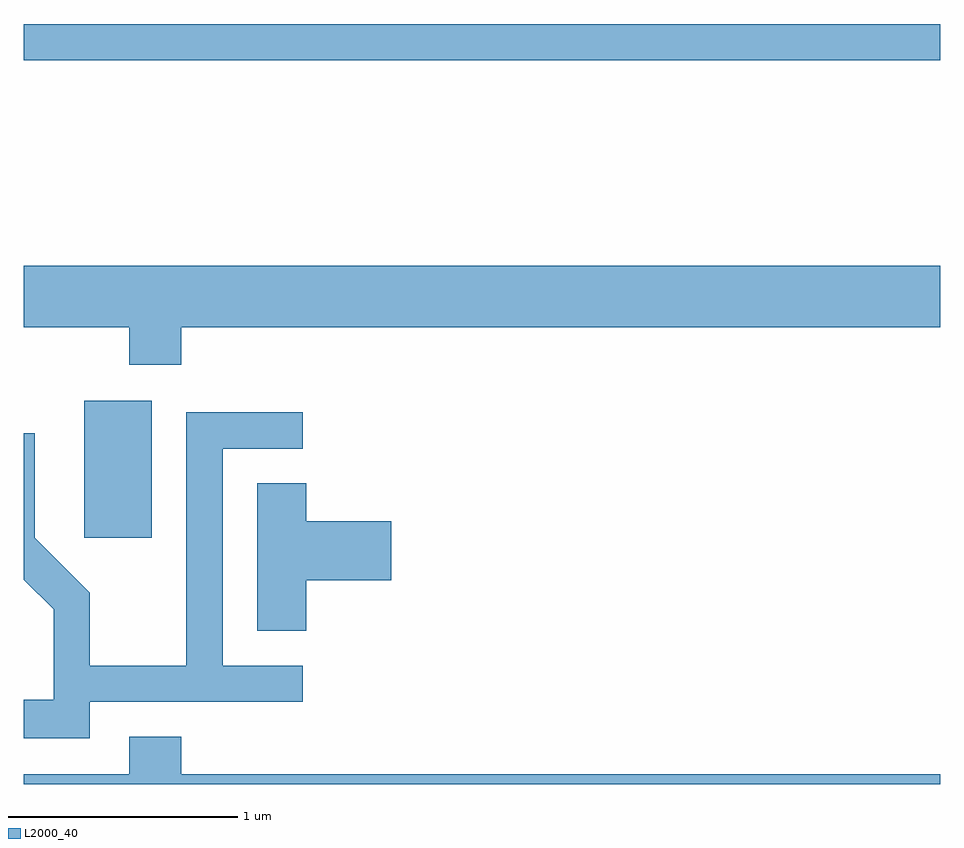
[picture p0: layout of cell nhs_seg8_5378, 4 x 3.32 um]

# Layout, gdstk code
import gdstk
lib = gdstk.Library(unit=1e-6, precision=1e-09)
def R(c, l, rs):  # rectangles x0, y0, x1, y1
    for r in rs: c.add(gdstk.rectangle(r[:2], r[2:], *l))
def P(c, l, *ps):  # polygons
    for p in ps: c.add(gdstk.Polygon(p, *l))
L2000_40 = (2000, 40)

nhs_seg8_5378 = lib.new_cell('nhs_seg8_5378')
R(nhs_seg8_5378, L2000_40, [(345.876,1915.416,346.169,1916.014), (345.611,1917.501,349.611,1917.659)])
P(nhs_seg8_5378, L2000_40, [(346.299,1916.336),(349.611,1916.336),(349.611,1916.604),(345.611,1916.604),(345.611,1916.336),(346.071,1916.336),(346.071,1916.171),(346.299,1916.171)],
  [(345.899,1914.701),(346.828,1914.701),(346.828,1914.859),(346.479,1914.859),(346.479,1915.806),(346.828,1915.806),(346.828,1915.964),(346.321,1915.964),(346.321,1914.859),(345.899,1914.859),(345.899,1915.177),(345.659,1915.417),(345.659,1915.873),(345.611,1915.873),(345.611,1915.234),(345.741,1915.104),(345.741,1914.709),(345.611,1914.709),(345.611,1914.541),(345.899,1914.541)],
  [(346.844,1915.231),(347.214,1915.231),(347.214,1915.489),(346.844,1915.489),(346.844,1915.654),(346.631,1915.654),(346.631,1915.011),(346.844,1915.011)],
  [(346.299,1914.549),(346.071,1914.549),(346.071,1914.384),(345.611,1914.384),(345.611,1914.342),(349.611,1914.342),(349.611,1914.384),(346.299,1914.384)])

lib.write_gds('nhs_seg8_5378.gds')
